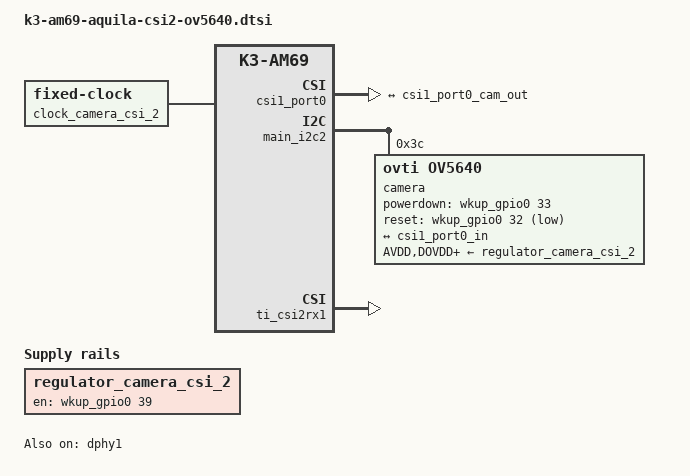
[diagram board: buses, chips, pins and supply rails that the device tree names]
// SPDX-License-Identifier: GPL-2.0-or-later OR MIT
/*
 * Copyright (c) Toradex
 *
 * Common device tree include for Toradex OV5640 CSI Camera on Aquila CSI_2.
 * Used on Development Board (J71).
 */

#include <dt-bindings/gpio/gpio.h>

&{/} {
	clock_camera_csi_2: clock-camera-csi-2 {
		compatible = "fixed-clock";
		#clock-cells = <0>;
	};

	regulator_camera_csi_2: regulator-camera-csi-2 {
		compatible = "regulator-fixed";
		pinctrl-names = "default";
		pinctrl-0 = <&pinctrl_gpio_16_csi_2>;
		/* Aquila GPIO_16_CSI_2 - Camera Connector 24 */
		gpio = <&wkup_gpio0 39 GPIO_ACTIVE_HIGH>;
		enable-active-high;
		regulator-name = "V_CSI_2";
		startup-delay-us = <5000>;
	};
};

&csi1_port0 {
	status = "okay";

	csi1_port0_in: endpoint {
		remote-endpoint = <&csi1_port0_cam_out>;
		bus-type = <4>; /* CSI2 DPHY. */
		clock-lanes = <0>;
		data-lanes = <1 2>;
	};
};

&dphy1 {
	status = "okay";
};

/* Aquila I2C_5_CSI2 */
&main_i2c2 {
	#address-cells = <1>;
	#size-cells = <0>;

	camera@3c {
		compatible = "ovti,ov5640";
		reg = <0x3c>;
		pinctrl-names = "default";
		pinctrl-0 = <&pinctrl_gpio_13_csi_2>, <&pinctrl_gpio_14_csi_2>;
		clocks = <&clock_camera_csi_2>;
		clock-names = "xclk";
		AVDD-supply = <&regulator_camera_csi_2>;
		DOVDD-supply = <&regulator_camera_csi_2>;
		DVDD-supply = <&regulator_camera_csi_2>;
		/* Aquila GPIO_14_CSI_2 - Camera Connector 22 */
		powerdown-gpios = <&wkup_gpio0 33 GPIO_ACTIVE_HIGH>;
		/* Aquila GPIO_13_CSI_2 - Camera Connector 11 */
		reset-gpios = <&wkup_gpio0 32 GPIO_ACTIVE_LOW>;

		port {
			csi1_port0_cam_out: endpoint {
				remote-endpoint = <&csi1_port0_in>;
				clock-lanes = <0>;
				data-lanes = <1 2>;
			};
		};
	};
};

&ti_csi2rx1 {
	status = "okay";
};
